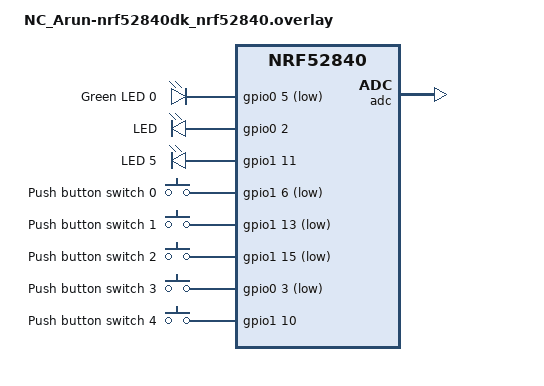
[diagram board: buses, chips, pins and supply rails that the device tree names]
/*
 * Dedicated Nurse Call (NC Only) Overlay
 * Restored Original GPIO Pin Assignments:
 *   Light LED - P0.02 (Active High)
 *   Call      - P0.03 (Pull-Up, Active Low)
 *   Blue      - P1.15 (Pull-Up, Active Low)
 *   Cancel    - P1.13 (Pull-Up, Active Low)
 *   Config    - P1.06 (Pull-Up, Active Low)
 *   Motion    - P1.10 (Pull-Down, Active High)
 *   OT LED    - P0.05 (Active Low)
 *   Relay     - P1.11 (Active High)
 */

/ {
	chosen {
		zephyr,entropy = &rng;
	};

	leds {
		compatible = "gpio-leds";
		led0: led_0 {				// OpenThread LED
			gpios = <&gpio0 5 GPIO_ACTIVE_LOW>;
			label = "Green LED 0";
		};
		// SpO2 Red & IR LEDs disabled to free P1.13 and P1.15 for Cancel & Blue buttons
		// led1: led_1 {
		// 	gpios = <&gpio1 13 GPIO_ACTIVE_HIGH>;
		// 	label = "Red LED 1";
		// };
		// led2: led_2 {
		// 	gpios = <&gpio1 15 GPIO_ACTIVE_HIGH>;
		// 	label = "Green LED 1";
		// };
		// led3: led_3 {
		// 	gpios = <&gpio0 16 GPIO_ACTIVE_LOW>; // Not used
		// 	label = "Blue LED 1";
		// };
		led4S: led_4 {			// LIGHT_LED
			gpios = <&gpio0 2 GPIO_ACTIVE_HIGH>;  // Original Nurse Call Light LED: P0.02 Active High
			label = "LED";
		};
		led5S: led_5 {
			gpios = <&gpio1 11 GPIO_ACTIVE_HIGH>;  // Relay control
			label = "LED 5";
		};
	};

	buttons {
		compatible = "gpio-keys";
		button0: button_0 {
			gpios = <&gpio1 6 (GPIO_ACTIVE_LOW | GPIO_PULL_UP)>;  // Device Config Parameters and Provisioning
			label = "Push button switch 0";
		};

		button1: button_1 {
			gpios = <&gpio1 13 (GPIO_PULL_UP | GPIO_ACTIVE_LOW)>;  // 3rd Button - Cancel (P1.13)
			label = "Push button switch 1";
		};

		button2: button_2 {
			gpios = <&gpio1 15 (GPIO_PULL_UP | GPIO_ACTIVE_LOW)>;   // 2nd Button - Blue (P1.15)
			label = "Push button switch 2";
		};

		button3: button_3 {
			gpios = <&gpio0 3 (GPIO_PULL_UP | GPIO_ACTIVE_LOW)>;   // 1st Button - Call (P0.03)
			label = "Push button switch 3";
		};

		button4: button_4 {
			gpios = <&gpio1 10 (GPIO_PULL_DOWN | GPIO_ACTIVE_HIGH)>;  // 4th Button - Motion Sensor PULL DOWN and ACTIVE HIGH
			label = "Push button switch 4";
		};
	};
};

&adc {
	status = "okay";
};

&uart1 {
	status = "disabled";
};

&pwm0 {
	status = "disabled";
};

&i2c0 {
	status = "disabled";
};

&spi0 {
	status = "disabled";
};

&spi1 {
	status = "disabled";
};

&spi2 {
	status = "disabled";
};

&spi3 {
	status = "disabled";
};

&qspi {
	status = "disabled";
};

&usbd {
	status = "disabled";
};

&pinctrl {
	uart0_default: uart0_default {
		group1 {
			psels = <NRF_PSEL(UART_TX, 0, 21)>,
				<NRF_PSEL(UART_RTS, 0, 20)>;
		};
		group2 {
			psels = <NRF_PSEL(UART_RX, 0, 23)>,
				<NRF_PSEL(UART_CTS, 0, 22)>;
			bias-pull-up;
		};
	};

	uart0_sleep: uart0_sleep {
		group1 {
			psels = <NRF_PSEL(UART_TX, 0, 21)>,
				<NRF_PSEL(UART_RX, 0, 23)>,
				<NRF_PSEL(UART_RTS, 0, 20)>,
				<NRF_PSEL(UART_CTS, 0, 22)>;
			low-power-enable;
		};
	};

	uart1_default: uart1_default {
		group1 {
			psels = <NRF_PSEL(UART_RX, 1, 1)>;
			bias-pull-up;
		};
		group2 {
			psels = <NRF_PSEL(UART_TX, 1, 2)>;
		};
	};

	uart1_sleep: uart1_sleep {
		group1 {
			psels = <NRF_PSEL(UART_RX, 1, 1)>,
				<NRF_PSEL(UART_TX, 1, 2)>;
			low-power-enable;
		};
	};
};
